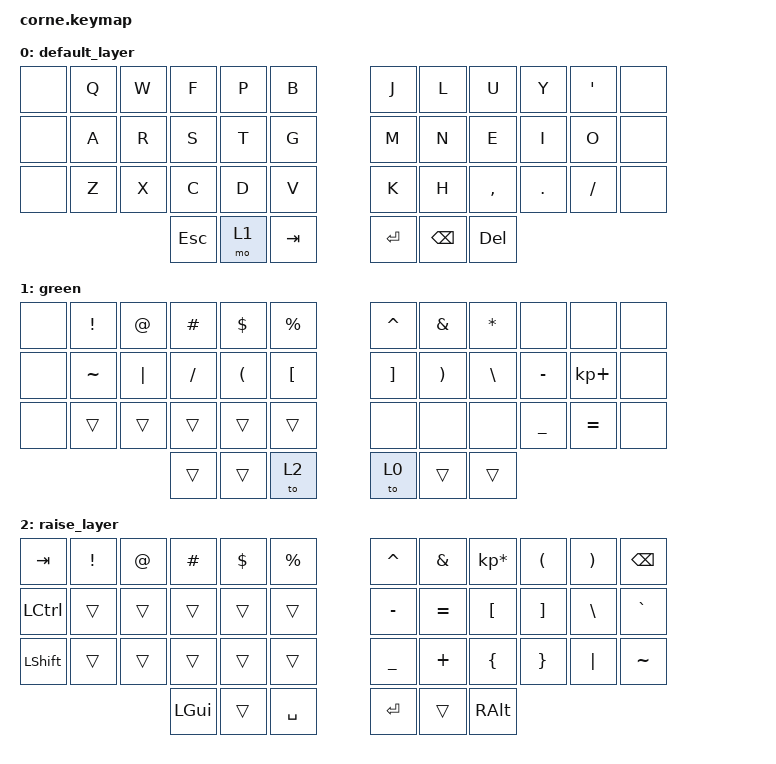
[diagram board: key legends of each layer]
/*
 * Copyright (c) 2020 The ZMK Contributors
 *
 * SPDX-License-Identifier: MIT
 */

#include <behaviors.dtsi>
#include <dt-bindings/zmk/keys.h>

/ {
    behaviors {
        holdLayer: holdLayer {
            compatible = "zmk,behavior-hold-tap";
            label = "HOLDLAYER";
            bindings = <&mo>, <&trans>;

            #binding-cells = <2>;
            hold-trigger-key-positions = <39>;
            tapping-term-ms = <500>;
        };
    };

    keymap {
        compatible = "zmk,keymap";

        default_layer {
            // -----------------------------------------------------------------------------------------
            // |  TAB |  Q  |  W  |  E  |  R  |  T  |   |  Y  |  U   |  I  |  O  |  P  | BKSP |
            // | CTRL |  A  |  S  |  D  |  F  |  G  |   |  H  |  J   |  K  |  L  |  ;  |  '   |
            // | SHFT |  Z  |  X  |  C  |  V  |  B  |   |  N  |  M   |  ,  |  .  |  /  | ESC  |
            //                    | GUI | LWR | SPC |   | ENT | RSE  | ALT |

            bindings = <
&none  &kp Q  &kp W  &kp F    &kp P  &kp B      &kp J    &kp L          &kp U      &kp Y    &kp SQT   &none
&none  &kp A  &kp R  &kp S    &kp T  &kp G      &kp M    &kp N          &kp E      &kp I    &kp O     &none
&none  &kp Z  &kp X  &kp C    &kp D  &kp V      &kp K    &kp H          &kp COMMA  &kp DOT  &kp FSLH  &none
                     &kp ESC  &mo 1  &kp TAB    &kp RET  &kp BACKSPACE  &kp DEL
            >;
        };

        symbol_layer {
            // -----------------------------------------------------------------------------------------
            // |  TAB |  1  |  2  |  3  |  4  |  5  |   |  6  |  7  |  8  |  9  |  0  | BKSP |
            // | BTCLR| BT1 | BT2 | BT3 | BT4 | BT5 |   | LFT | DWN |  UP | RGT |     |      |
            // | SHFT |     |     |     |     |     |   |     |     |     |     |     |      |
            //                    | GUI |     | SPC |   | ENT |     | ALT |

            bindings = <
&none  &kp EXCLAMATION  &kp AT_SIGN  &kp POUND  &kp DOLLAR            &kp PERCENT         &kp CARET          &kp AMPERSAND          &kp ASTERISK  &none           &none        &none
&none  &kp TILDE        &kp PIPE     &kp SLASH  &kp LEFT_PARENTHESIS  &kp LEFT_BRACKET    &kp RIGHT_BRACKET  &kp RIGHT_PARENTHESIS  &kp BSLH      &kp MINUS       &kp KP_PLUS  &none
&none  &trans           &trans       &trans     &trans                &trans              &none              &none                  &none         &kp UNDERSCORE  &kp EQUAL    &none
                                     &trans     &trans                &to 2               &to 0              &trans                 &trans
            >;

            label = "green";
        };

        raise_layer {
            // -----------------------------------------------------------------------------------------
            // |  TAB |  !  |  @  |  #  |  $  |  %  |   |  ^  |  &  |  *  |  (  |  )  | BKSP |
            // | CTRL |     |     |     |     |     |   |  -  |  =  |  [  |  ]  |  \  |  `   |
            // | SHFT |     |     |     |     |     |   |  _  |  +  |  {  |  }  | "|" |  ~   |
            //                    | GUI |     | SPC |   | ENT |     | ALT |

            bindings = <
&kp TAB    &kp EXCL  &kp AT  &kp HASH  &kp DLLR  &kp PRCNT    &kp CARET  &kp AMPS   &kp KP_MULTIPLY  &kp LPAR  &kp RPAR  &kp BSPC
&kp LCTRL  &trans    &trans  &trans    &trans    &trans       &kp MINUS  &kp EQUAL  &kp LBKT         &kp RBKT  &kp BSLH  &kp GRAVE
&kp LSHFT  &trans    &trans  &trans    &trans    &trans       &kp UNDER  &kp PLUS   &kp LBRC         &kp RBRC  &kp PIPE  &kp TILDE
                             &kp LGUI  &trans    &kp SPACE    &kp RET    &trans     &kp RALT
            >;
        };
    };
};
